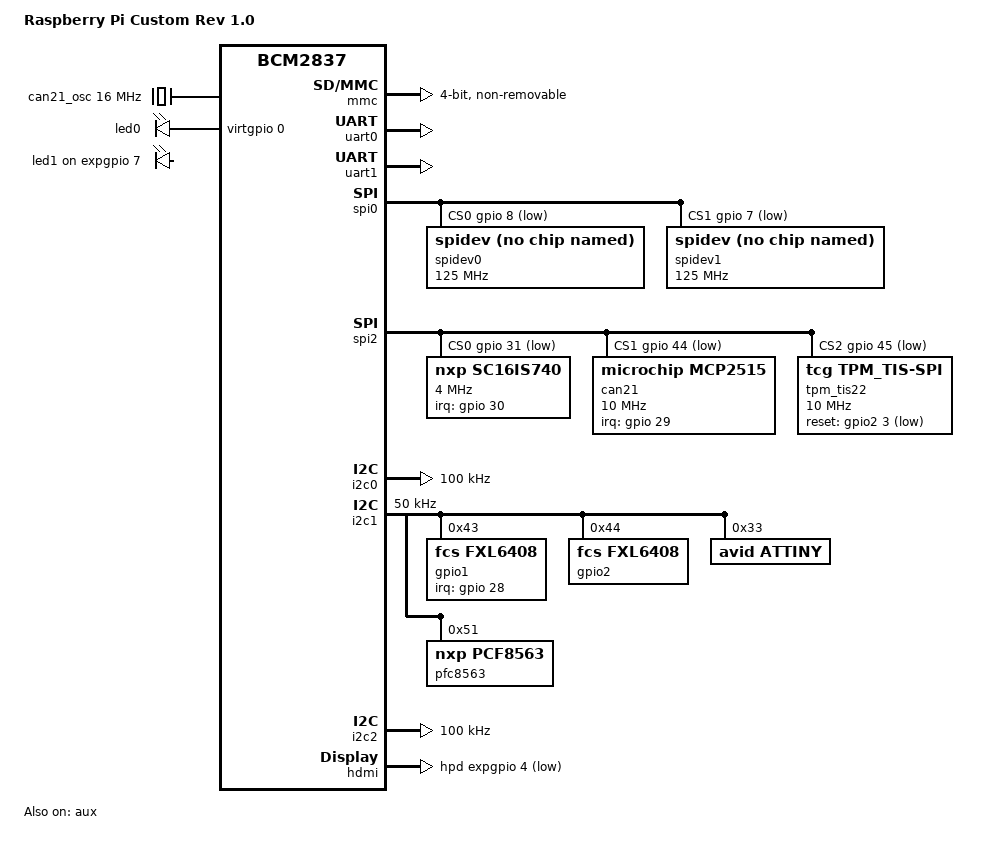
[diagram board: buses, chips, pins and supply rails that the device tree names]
/dts-v1/;

#include "bcm2710.dtsi"
#include "bcm283x-rpi-smsc9514.dtsi"
#include "bcm283x-rpi-csi1-2lane.dtsi"

/ {
	compatible = "raspberrypi,3-model-b", "brcm,bcm2837";
	model = "Raspberry Pi Custom Rev 1.0";

	chosen {
		bootargs = "8250.nr_uarts=1";
	};

	aliases {
		serial0 = &uart1;
		serial1 = &uart0;
	};

	clocks {
		#address-cells = <0x1>;
		#size-cells = <0x0>;

		sc16is740_clk: sc16is740_clk {
			compatible = "fixed-clock";
			#clock-cells = <0>;
			clock-frequency = <14745600>;
		};

		can21_osc: can21_osc {
			compatible = "fixed-clock";
			#clock-cells = <0>;
			clock-frequency  = <16000000>;
		};
	};
};

&gpio {
	spi0_pins: spi0_pins {
		brcm,pins = <9 10 11>;
		brcm,function = <4>; /* alt0 */
	};

	spi0_cs_pins: spi0_cs_pins {
		brcm,pins = <8 7>;
		brcm,function = <1>; /* output */
	};

	spi2_pins: spi2_pins {
		brcm,pins = <40 41 42>;
		brcm,function = <3>; /* alt4 */
	};

	spi2_cs_pins: spi2_cs_pins {
		brcm,pins = <31 44 45>;
		brcm,function = <1>; /* output */
	};

	i2c0_pins: i2c0 {
		brcm,pins = <0 1>;
		brcm,function = <4>;
	};

	i2c1_pins: i2c1 {
		brcm,pins = <2 3>;
		brcm,function = <4>;
	};

	i2s_pins: i2s {
		brcm,pins = <18 19 20 21>;
		brcm,function = <4>; /* alt0 */
	};

	sdio_pins: sdio_pins {
		brcm,pins =     <34 35 36 37 38 39>;
		brcm,function = <7>; // alt3 = SD1
		brcm,pull =     <0 2 2 2 2 2>;
	};

	bt_pins: bt_pins {
		brcm,pins = <43>;
		brcm,function = <4>; /* alt0:GPCLK2 */
		brcm,pull = <0>;
	};

	uart0_pins: uart0_pins {
		brcm,pins = <32 33>;
		brcm,function = <7>; /* alt3=UART0 */
		brcm,pull = <0 2>;
	};

	uart1_pins: uart1_pins {
		brcm,pins;
		brcm,function;
		brcm,pull;
	};

	audio_pins: audio_pins {
		brcm,pins;
		brcm,function;
	};

	sc16is740_pins: sc16is740_pins {
		brcm,pins = <30>;
		brcm,function = <0>;
	};

	can21_pins: can21_pins {
		brcm,pins = <29>;
		brcm,function = <0>;
	};
};

&mmc {
	pinctrl-names = "default";
	pinctrl-0 = <&sdio_pins>;
	non-removable;
	bus-width = <4>;
	status = "okay";
	brcm,overclock-50 = <0>;
};

&soc {
	virtgpio: virtgpio {
		compatible = "brcm,bcm2835-virtgpio";
		gpio-controller;
		#gpio-cells = <2>;
		firmware = <&firmware>;
		status = "okay";
	};

	expgpio: expgpio {
		compatible = "brcm,bcm2835-expgpio";
		gpio-controller;
		#gpio-cells = <2>;
		firmware = <&firmware>;
		status = "okay";
	};
};

&uart0 {
	pinctrl-names = "default";
	pinctrl-0 = <&uart0_pins &bt_pins>;
	status = "okay";
};

&uart1 {
	pinctrl-names = "default";
	pinctrl-0 = <&uart1_pins>;
	status = "okay";
};

&spi0 {
	pinctrl-names = "default";
	pinctrl-0 = <&spi0_pins &spi0_cs_pins>;
	cs-gpios = <&gpio 8 1>, <&gpio 7 1>;

	spidev0: spidev@0{
		compatible = "spidev";
		reg = <0>;	/* CE0 */
		#address-cells = <1>;
		#size-cells = <0>;
		spi-max-frequency = <125000000>;
	};

	spidev1: spidev@1{
		compatible = "spidev";
		reg = <1>;	/* CE1 */
		#address-cells = <1>;
		#size-cells = <0>;
		spi-max-frequency = <125000000>;
	};
};

&spi2 {
	pinctrl-names = "default";
	pinctrl-0 = <&spi2_pins &spi2_cs_pins>;
	cs-gpios = <&gpio 31 1>, <&gpio 44 1>, <&gpio 45 1>;
	status = "okay";
        
	sc16is740: sc16is740@0 {
		compatible = "nxp,sc16is740";
		pinctrl-names = "default";
		pinctrl-0 = <&sc16is740_pins>;
		reg = <0>; /* CE0 */
		interrupt-parent = <&gpio>;
		/* Note: SC16IS7xx is LEVEL LOW triggered interrupt, but the board is locking up on ISR (driver issue?) */
//		interrupts = <30 8>; /* IRQ_TYPE_LEVEL_LOW */
		interrupts = <30 2>; /* IRQ_TYPE_EDGE_FALLING */

		/* 20190212: Below two lines added for RS485 half duplex */
		/* 20190325: Changed rs485-rts-delay from <0 200>, and added rs485-rts-after-send
		linux,rs485-enabled-at-boot-time;
		rs485-rts-after-send;
		rs485-rts-delay = <0 200>;	/* param1 = delay in ms to assert rts before data, param2 = delay in to hold rts after data */
		/* This mode will be active by default until disabled with proper ioctrl. */

		spi-max-frequency = <4000000>;
		status = "okay";
		clocks = <&sc16is740_clk>;
	};

	can21: mcp2515@1 {
		reg = <1>;
		compatible = "microchip,mcp2515";
		/* Ensure GPIO expander interrupt is set/reserved */
		pinctrl-names = "default";
		pinctrl-0 = <&can21_pins>;
		spi-max-frequency = <10000000>;
		interrupt-parent = <&gpio>;
		interrupt-names = "mcp2515@1-irq";
		interrupts = <29 8>; /* IRQ_TYPE_LEVEL_LOW */
		status = "okay";
		clocks = <&can21_osc>;
	};

	tpm_tis22: tpm_tis@2 {
		compatible = "tcg,tpm_tis-spi";
		reg = <2>;
		gpio-reset = <&gpio2 3 1>; /* SmartEdge Gateway Specific */
		spi-max-frequency = <10000000>;
/* Connecting TPM to GPIO30 currently causes interrupt storm - lock-up with sc16is7xx */
/* (shared interrupt).  TPM doesn't need interrupt, so keep it disconnected and disabled. */
//		interrupt-parent = <&gpio>;
//		interrupts = <30 8>; /* IRQ_TYPE_LEVEL_LOW */
		status = "okay";
	};

/* Need spidev2_2 to (re)program the MCU.  This could be a dtoverlay option. */
/* Possibly dynamically loaded from command-line? */
//	spidev2_2: spidev@2{
//		compatible = "spidev";
//		reg = <2>;
//		#address-cells = <1>;
//		#size-cells = <0>;
//		spi-max-frequency = <500000>;
//		status = "okay"
//	};
};

&aux {
	status = "okay";
};

&i2c0 {
	pinctrl-names = "default";
        pinctrl-0 = <&i2c0_pins>;
	clock-frequency = <100000>;
};

&i2c1 {
	pinctrl-names = "default";
	pinctrl-0 = <&i2c1_pins>;
	clock-frequency = <50000>; /* 20190411: ATtiny I2C gives bus errors at 100kHz, but works well at 50kHz */
	status="okay";
        
	gpio1: gpio1 {
		gpio-controller;
		#gpio-cells = <2>;
		reg = <0x43>;
		compatible = "fcs,fxl6408";
		interrupt-controller;
		interrupt-parent = <&gpio>;
		ngpios = <8>;
		gpio-base = <200>;
		interrupts = <28 0x8>; /* was 28 0x2082 */
	};
        
	gpio2: gpio2 {
		gpio-controller;
		#gpio-cells = <2>;
		reg = <0x44>;
		compatible = "fcs,fxl6408";
//		interrupt-controller;
//		interrupt-parent = <&gpio>;
		gpio-base = <208>;
//		interrupts = <28 0x8>;                
	};
	attiny: attiny@33 {
		compatible = "avid,attiny";
		reg = <0x33>;
		status = "okay";
	};
        
	pfc8563: rtc@51 {
		compatible = "nxp,pcf8563";
		reg = <0x51>;
	};
};

&i2c2 {
	clock-frequency = <100000>;
};

&i2s {
	pinctrl-names = "default";
	pinctrl-0 = <&i2s_pins>;
};

&leds {
	act_led: act {
		label = "led0";
		linux,default-trigger = "mmc0";
		gpios = <&virtgpio 0 0>;
	};

	pwr_led: pwr {
		label = "led1";
		linux,default-trigger = "input";
		gpios = <&expgpio 7 0>;
	};
};

&hdmi {
	hpd-gpios = <&expgpio 4 GPIO_ACTIVE_LOW>;
};

&audio {
	pinctrl-names = "default";
	pinctrl-0 = <&audio_pins>;
};

/ {
	__overrides__ {
		act_led_gpio = <&act_led>,"gpios:4";
		act_led_activelow = <&act_led>,"gpios:8";
		act_led_trigger = <&act_led>,"linux,default-trigger";

		pwr_led_gpio = <&pwr_led>,"gpios:4";
		pwr_led_activelow = <&pwr_led>,"gpios:8";
		pwr_led_trigger = <&pwr_led>,"linux,default-trigger";
	};
};
